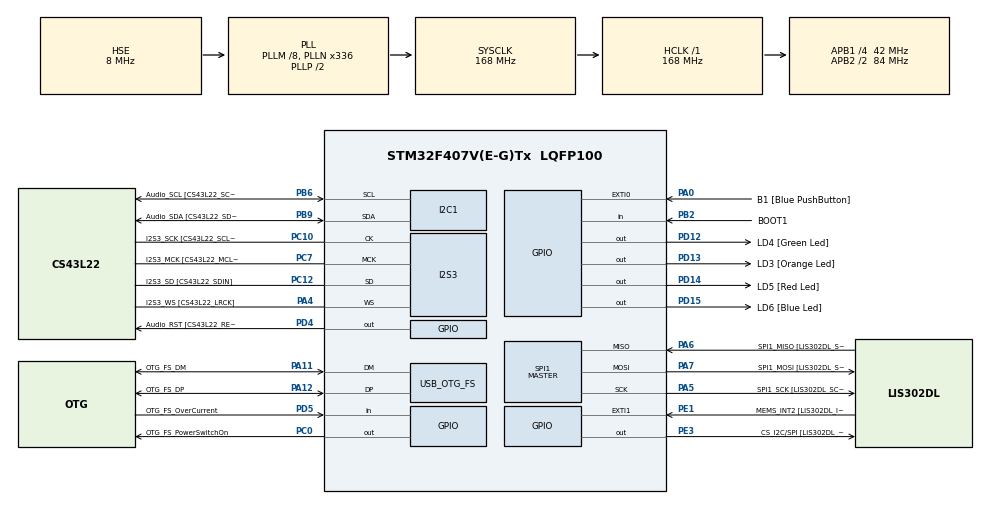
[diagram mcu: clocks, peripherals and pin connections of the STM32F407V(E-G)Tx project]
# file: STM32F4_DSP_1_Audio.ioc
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Dma.Request0=SPI3_TX
Dma.SPI3_TX.0.Direction=DMA_MEMORY_TO_PERIPH
Dma.SPI3_TX.0.FIFOMode=DMA_FIFOMODE_DISABLE
Dma.SPI3_TX.0.Instance=DMA1_Stream5
Dma.SPI3_TX.0.MemDataAlignment=DMA_MDATAALIGN_HALFWORD
Dma.SPI3_TX.0.MemInc=DMA_MINC_ENABLE
Dma.SPI3_TX.0.Mode=DMA_NORMAL
Dma.SPI3_TX.0.PeriphDataAlignment=DMA_PDATAALIGN_HALFWORD
Dma.SPI3_TX.0.PeriphInc=DMA_PINC_DISABLE
Dma.SPI3_TX.0.Priority=DMA_PRIORITY_HIGH
I2S3.AudioFreq-Half_Duplex_Master=I2S_AUDIOFREQ_96K
I2S3.ErrorAudioFreq=-2.34 %
I2S3.ErrorAudioFreq-Half_Duplex_Master=0.8 %
I2S3.FullDuplexMode=I2S_FULLDUPLEXMODE_DISABLE
I2S3.Instance=SPI$Index
I2S3.RealAudioFreq=93.75 KHz
I2S3.RealAudioFreq-Half_Duplex_Master=96.774 KHz
I2S3.VirtualMode=I2S_MODE_MASTER
Mcu.Family=STM32F4
Mcu.Name=STM32F407V(E-G)Tx
Mcu.Package=LQFP100
NVIC.DMA1_Stream5_IRQn=true\:0\:0\:false\:false\:true\:false\:true\:true
NVIC.OTG_FS_IRQn=true\:0\:0\:false\:false\:true\:true\:true\:true
NVIC.PriorityGroup=NVIC_PRIORITYGROUP_0
PA0-WKUP.GPIO_Label=B1 [Blue PushButton]
PA0-WKUP.GPIO_ModeDefaultEXTI=GPIO_MODE_EVT_RISING
PA0-WKUP.GPIO_PuPd=GPIO_NOPULL
PA0-WKUP.Signal=GPXTI0
PA10.GPIO_Label=OTG_FS_ID
PA10.GPIO_Mode=GPIO_MODE_AF_PP
PA10.GPIO_PuPd=GPIO_NOPULL
PA10.GPIO_Speed=GPIO_SPEED_FREQ_LOW
PA10.Signal=USB_OTG_FS_ID
PA11.GPIO_Label=OTG_FS_DM
PA11.GPIO_Mode=GPIO_MODE_AF_PP
PA11.GPIO_PuPd=GPIO_NOPULL
PA11.GPIO_Speed=GPIO_SPEED_FREQ_LOW
PA11.Mode=Host_Only
PA11.Signal=USB_OTG_FS_DM
PA12.GPIO_Label=OTG_FS_DP
PA12.GPIO_Mode=GPIO_MODE_AF_PP
PA12.GPIO_PuPd=GPIO_NOPULL
PA12.GPIO_Speed=GPIO_SPEED_FREQ_LOW
PA12.Mode=Host_Only
PA12.Signal=USB_OTG_FS_DP
PA13.GPIO_Label=SWDIO
PA13.Mode=Serial_Wire
PA13.Signal=SYS_JTMS-SWDIO
PA14.GPIO_Label=SWCLK
PA14.Mode=Serial_Wire
PA14.Signal=SYS_JTCK-SWCLK
PA4.GPIO_Label=I2S3_WS [CS43L22_LRCK]
PA4.GPIO_Mode=GPIO_MODE_AF_PP
PA4.GPIO_PuPd=GPIO_NOPULL
PA4.GPIO_Speed=GPIO_SPEED_FREQ_LOW
PA4.Mode=Half_Duplex_Master
PA4.Signal=I2S3_WS
PA5.GPIO_Label=SPI1_SCK [LIS302DL_SCL/SPC]
PA5.GPIO_Mode=GPIO_MODE_AF_PP
PA5.GPIO_PuPd=GPIO_NOPULL
PA5.GPIO_Speed=GPIO_SPEED_FREQ_LOW
PA5.Mode=Full_Duplex_Master
PA5.Signal=SPI1_SCK
PA6.GPIO_Label=SPI1_MISO [LIS302DL_SDO]
PA6.GPIO_Mode=GPIO_MODE_AF_PP
PA6.GPIO_PuPd=GPIO_NOPULL
PA6.GPIO_Speed=GPIO_SPEED_FREQ_LOW
PA6.Mode=Full_Duplex_Master
PA6.Signal=SPI1_MISO
PA7.GPIO_Label=SPI1_MOSI [LIS302DL_SDA/SDI/SDO]
PA7.GPIO_Mode=GPIO_MODE_AF_PP
PA7.GPIO_PuPd=GPIO_NOPULL
PA7.GPIO_Speed=GPIO_SPEED_FREQ_LOW
PA7.Mode=Full_Duplex_Master
PA7.Signal=SPI1_MOSI
PA9.GPIO_Label=VBUS_FS
PA9.GPIO_Mode=GPIO_MODE_INPUT
PA9.GPIO_PuPd=GPIO_NOPULL
PA9.Signal=USB_OTG_FS_VBUS
PB10.GPIO_Label=CLK_IN [MP45DT02_CLK]
PB10.GPIO_Mode=GPIO_MODE_AF_PP
PB10.GPIO_PuPd=GPIO_NOPULL
PB10.GPIO_Speed=GPIO_SPEED_FREQ_LOW
PB10.Signal=I2S2_CK
PB2.GPIO_Label=BOOT1
PB2.GPIO_Mode=GPIO_MODE_INPUT
PB2.GPIO_PuPd=GPIO_NOPULL
PB2.Signal=GPIO_Input
PB3.GPIO_Label=SWO
PB3.Signal=SYS_JTDO-SWO
PB6.GPIO_Label=Audio_SCL [CS43L22_SCL]
PB6.GPIO_Mode=GPIO_MODE_AF_OD
PB6.GPIO_Pu=GPIO_PULLUP
PB6.GPIO_PuPd=GPIO_NOPULL
PB6.GPIO_Speed=GPIO_SPEED_FREQ_LOW
PB6.Mode=I2C
PB6.Signal=I2C1_SCL
PB9.GPIO_Label=Audio_SDA [CS43L22_SDA]
PB9.GPIO_Mode=GPIO_MODE_AF_OD
PB9.GPIO_Pu=GPIO_PULLUP
PB9.GPIO_PuPd=GPIO_NOPULL
PB9.GPIO_Speed=GPIO_SPEED_FREQ_LOW
PB9.Mode=I2C
PB9.Signal=I2C1_SDA
PC0.GPIO_Label=OTG_FS_PowerSwitchOn
PC0.GPIO_PuPd=GPIO_NOPULL
PC0.GPIO_Speed=GPIO_SPEED_FREQ_LOW
PC0.PinState=GPIO_PIN_SET
PC0.Signal=GPIO_Output
PC10.GPIO_Label=I2S3_SCK [CS43L22_SCLK]
PC10.GPIO_Mode=GPIO_MODE_AF_PP
PC10.GPIO_PuPd=GPIO_NOPULL
PC10.GPIO_Speed=GPIO_SPEED_FREQ_LOW
PC10.Mode=Half_Duplex_Master
PC10.Signal=I2S3_CK
PC12.GPIO_Label=I2S3_SD [CS43L22_SDIN]
PC12.GPIO_Mode=GPIO_MODE_AF_PP
PC12.GPIO_PuPd=GPIO_NOPULL
PC12.GPIO_Speed=GPIO_SPEED_FREQ_LOW
PC12.Mode=Half_Duplex_Master
PC12.Signal=I2S3_SD
PC14-OSC32_IN.GPIO_Label=PC14-OSC32_IN
PC14-OSC32_IN.Mode=LSE-External-Oscillator
PC14-OSC32_IN.Signal=RCC_OSC32_IN
PC15-OSC32_OUT.GPIO_Label=PC15-OSC32_OUT
PC15-OSC32_OUT.Mode=LSE-External-Oscillator
PC15-OSC32_OUT.Signal=RCC_OSC32_OUT
PC3.GPIO_Label=PDM_OUT [MP45DT02_DOUT]
PC3.GPIO_Mode=GPIO_MODE_AF_PP
PC3.GPIO_PuPd=GPIO_NOPULL
PC3.GPIO_Speed=GPIO_SPEED_FREQ_LOW
PC3.Signal=I2S2_SD
PC7.GPIO_Label=I2S3_MCK [CS43L22_MCLK]
PC7.GPIO_Mode=GPIO_MODE_AF_PP
PC7.GPIO_PuPd=GPIO_NOPULL
PC7.GPIO_Speed=GPIO_SPEED_FREQ_LOW
PC7.Mode=Master_Clock_Activated
PC7.Signal=I2S3_MCK
PD12.GPIO_Label=LD4 [Green Led]
PD12.GPIO_PuPd=GPIO_NOPULL
PD12.GPIO_Speed=GPIO_SPEED_FREQ_LOW
PD12.Signal=GPIO_Output
PD13.GPIO_Label=LD3 [Orange Led]
PD13.GPIO_PuPd=GPIO_NOPULL
PD13.GPIO_Speed=GPIO_SPEED_FREQ_LOW
PD13.Signal=GPIO_Output
PD14.GPIO_Label=LD5 [Red Led]
PD14.GPIO_PuPd=GPIO_NOPULL
PD14.GPIO_Speed=GPIO_SPEED_FREQ_LOW
PD14.Signal=GPIO_Output
PD15.GPIO_Label=LD6 [Blue Led]
PD15.GPIO_PuPd=GPIO_NOPULL
PD15.GPIO_Speed=GPIO_SPEED_FREQ_LOW
PD15.Signal=GPIO_Output
PD4.GPIO_Label=Audio_RST [CS43L22_RESET]
PD4.GPIO_PuPd=GPIO_NOPULL
PD4.GPIO_Speed=GPIO_SPEED_FREQ_LOW
PD4.Signal=GPIO_Output
PD5.GPIO_Label=OTG_FS_OverCurrent
PD5.GPIO_Mode=GPIO_MODE_INPUT
PD5.GPIO_PuPd=GPIO_NOPULL
PD5.Signal=GPIO_Input
PE1.GPIO_Label=MEMS_INT2 [LIS302DL_INT2]
PE1.GPIO_ModeDefaultEXTI=GPIO_MODE_EVT_RISING
PE1.GPIO_PuPd=GPIO_NOPULL
PE1.Signal=GPXTI1
PE3.GPIO_Label=CS_I2C/SPI [LIS302DL_CS_I2C/SPI]
PE3.GPIO_PuPd=GPIO_NOPULL
PE3.GPIO_Speed=GPIO_SPEED_FREQ_LOW
PE3.Signal=GPIO_Output
PH0-OSC_IN.GPIO_Label=PH0-OSC_IN
PH0-OSC_IN.Mode=HSE-External-Oscillator
PH0-OSC_IN.Signal=RCC_OSC_IN
PH1-OSC_OUT.GPIO_Label=PH1-OSC_OUT
PH1-OSC_OUT.Mode=HSE-External-Oscillator
PH1-OSC_OUT.Signal=RCC_OSC_OUT
ProjectManager.HeapSize=0x200
ProjectManager.StackSize=0x400
ProjectManager.TargetToolchain=STM32CubeIDE
RCC.48MHZClocksFreq_Value=48000000
RCC.AHBFreq_Value=168000000
RCC.APB1CLKDivider=RCC_HCLK_DIV4
RCC.APB1Freq_Value=42000000
RCC.APB1TimFreq_Value=84000000
RCC.APB2CLKDivider=RCC_HCLK_DIV2
RCC.APB2Freq_Value=84000000
RCC.APB2TimFreq_Value=168000000
RCC.CortexFreq_Value=168000000
RCC.HCLKFreq_Value=168000000
RCC.HSE_VALUE=8000000
RCC.HSI_VALUE=16000000
RCC.PLLM=8
RCC.PLLN=336
RCC.PLLQ=7
RCC.SYSCLKFreq_VALUE=168000000
RCC.SYSCLKSource=RCC_SYSCLKSOURCE_PLLCLK
RCC.VCOOutputFreq_Value=336000000
SPI1.BaudRatePrescaler-Full_Duplex_Master=SPI_BAUDRATEPRESCALER_2
SPI1.CalculateBaudRate-Full_Duplex_Master=42.0 MBits/s
SPI1.Direction=SPI_DIRECTION_2LINES
SPI1.Mode=SPI_MODE_MASTER
SPI1.Mode-Full_Duplex_Master=SPI_MODE_MASTER
SPI1.VirtualType=VM_MASTER
USB_HOST.BSP.number=1
USB_HOST.USBH_HandleTypeDef-CDC_FS=hUsbHostFS
USB_HOST.VirtualModeFS=Cdc
USB_HOST0.BSP.STBoard=false
USB_HOST0.BSP.api=Unknown
USB_HOST0.BSP.instance=PC0
USB_HOST0.BSP.ip=GPIO
USB_HOST0.BSP.mode=Output
USB_HOST0.BSP.name=Drive_VBUS_FS
USB_HOST0.BSP.solution=PC0
USB_OTG_FS.VirtualMode=Host_Only
USB_OTG_FS.phy_itface=HCD_PHY_EMBEDDED
VP_USB_HOST_VS_USB_HOST_CDC_FS.Mode=CDC_FS
board=STM32F407G-DISC1

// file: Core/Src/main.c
/* USER CODE BEGIN Header */
/**
  ******************************************************************************
  * @file           : main.c
  * @brief          : Main program body
  ******************************************************************************
  * @attention
  *
  * Copyright (c) 2025 STMicroelectronics.
  * All rights reserved.
  *
  * This software is licensed under terms that can be found in the LICENSE file
  * in the root directory of this software component.
  * If no LICENSE file comes with this software, it is provided AS-IS.
  *
  ******************************************************************************
  */
/* USER CODE END Header */
#include "main.h"
#include "usb_host.h"

/* USER CODE BEGIN Includes */
#include "arm_math.h"
#include "stm32f4_discovery_audio.h"

/* USER CODE END Includes */

/* USER CODE BEGIN PTD */
//git tests 222

/* USER CODE END PTD */

/* USER CODE BEGIN PD */
#define SAMPLING_FREQ 8000	//BSP_audio_out sampling frequency
#define SAMPLES_QTY 32		//Signal buffer for one channel

/* USER CODE END PD */

I2C_HandleTypeDef hi2c1;

I2S_HandleTypeDef hi2s3;
DMA_HandleTypeDef hdma_spi3_tx;

SPI_HandleTypeDef hspi1;

/* USER CODE BEGIN PV */
static int16_t OutputBuffer[SAMPLES_QTY*2];		//Buffer to BSP_AUDIO_OUT, left+right channels
static int16_t Left_out_buffer[SAMPLES_QTY];
static int16_t Right_out_buffer[SAMPLES_QTY];

/* USER CODE END PV */

void SystemClock_Config(void);
static void MX_GPIO_Init(void);
static void MX_DMA_Init(void);
static void MX_I2C1_Init(void);
static void MX_I2S3_Init(void);
static void MX_SPI1_Init(void);
void MX_USB_HOST_Process(void);

int main(void)
{

  /* MCU Configuration--------------------------------------------------------*/

  /* Reset of all peripherals, Initializes the Flash interface and the Systick. */
  HAL_Init();

  /* Configure the system clock */
  SystemClock_Config();

  /* Initialize all configured peripherals */
  MX_GPIO_Init();
  MX_DMA_Init();
  MX_I2C1_Init();
  MX_I2S3_Init();
  MX_SPI1_Init();
  MX_USB_HOST_Init();
  /* USER CODE BEGIN 2 */

  /*** Initialize the Audio codec and all related peripherals (I2S, I2C, IOExpander, IOs...) ***/
        if(BSP_AUDIO_OUT_Init(OUTPUT_DEVICE_AUTO, 80, SAMPLING_FREQ) != AUDIO_OK)
        {
        	Error_Handler();
        }

  /*** Test Signal generation ***/
        for(int index = 0; index < SAMPLES_QTY; index++)
        {
        	Left_out_buffer[index] = (int16_t)(30000*sin(2*PI*index/SAMPLES_QTY));
          	Right_out_buffer[index] = (int16_t)(30000*sin(4*2*PI*index/SAMPLES_QTY));
        }

  /*** Fill Output Buffer ***/
        for(int i = 0; i < SAMPLES_QTY; i++)
        {
        	OutputBuffer[i<<1] = Left_out_buffer[i];
            OutputBuffer[(i<<1)+1] = Right_out_buffer[i];
        }

  /*** Start Audio play ***/
        BSP_AUDIO_OUT_Play((uint16_t*)&OutputBuffer[0], SAMPLES_QTY*2);

  /* USER CODE END 2 */

  /* Infinite loop */
  /* USER CODE BEGIN WHILE */
  while (1)
  {
	  HAL_GPIO_TogglePin(LD4_GPIO_Port, LD4_Pin);
	  HAL_Delay(250);

    /* USER CODE END WHILE */
    MX_USB_HOST_Process();

  }
}

void SystemClock_Config(void)
{
  RCC_OscInitTypeDef RCC_OscInitStruct = {0};
  RCC_ClkInitTypeDef RCC_ClkInitStruct = {0};

  /** Configure the main internal regulator output voltage
  */
  __HAL_RCC_PWR_CLK_ENABLE();
  __HAL_PWR_VOLTAGESCALING_CONFIG(PWR_REGULATOR_VOLTAGE_SCALE1);

  /** Initializes the RCC Oscillators according to the specified parameters
  * in the RCC_OscInitTypeDef structure.
  */
  RCC_OscInitStruct.OscillatorType = RCC_OSCILLATORTYPE_HSE;
  RCC_OscInitStruct.HSEState = RCC_HSE_ON;
  RCC_OscInitStruct.PLL.PLLState = RCC_PLL_ON;
  RCC_OscInitStruct.PLL.PLLSource = RCC_PLLSOURCE_HSE;
  RCC_OscInitStruct.PLL.PLLM = 8;
  RCC_OscInitStruct.PLL.PLLN = 336;
  RCC_OscInitStruct.PLL.PLLP = RCC_PLLP_DIV2;
  RCC_OscInitStruct.PLL.PLLQ = 7;
  if (HAL_RCC_OscConfig(&RCC_OscInitStruct) != HAL_OK)
  {
    Error_Handler();
  }

  /** Initializes the CPU, AHB and APB buses clocks
  */
  RCC_ClkInitStruct.ClockType = RCC_CLOCKTYPE_HCLK|RCC_CLOCKTYPE_SYSCLK
                              |RCC_CLOCKTYPE_PCLK1|RCC_CLOCKTYPE_PCLK2;
  RCC_ClkInitStruct.SYSCLKSource = RCC_SYSCLKSOURCE_PLLCLK;
  RCC_ClkInitStruct.AHBCLKDivider = RCC_SYSCLK_DIV1;
  RCC_ClkInitStruct.APB1CLKDivider = RCC_HCLK_DIV4;
  RCC_ClkInitStruct.APB2CLKDivider = RCC_HCLK_DIV2;

  if (HAL_RCC_ClockConfig(&RCC_ClkInitStruct, FLASH_LATENCY_5) != HAL_OK)
  {
    Error_Handler();
  }
}

static void MX_I2C1_Init(void)
{

  hi2c1.Instance = I2C1;
  hi2c1.Init.ClockSpeed = 100000;
  hi2c1.Init.DutyCycle = I2C_DUTYCYCLE_2;
  hi2c1.Init.OwnAddress1 = 0;
  hi2c1.Init.AddressingMode = I2C_ADDRESSINGMODE_7BIT;
  hi2c1.Init.DualAddressMode = I2C_DUALADDRESS_DISABLE;
  hi2c1.Init.OwnAddress2 = 0;
  hi2c1.Init.GeneralCallMode = I2C_GENERALCALL_DISABLE;
  hi2c1.Init.NoStretchMode = I2C_NOSTRETCH_DISABLE;
  if (HAL_I2C_Init(&hi2c1) != HAL_OK)
  {
    Error_Handler();
  }

}

static void MX_I2S3_Init(void)
{

  hi2s3.Instance = SPI3;
  hi2s3.Init.Mode = I2S_MODE_MASTER_TX;
  hi2s3.Init.Standard = I2S_STANDARD_PHILIPS;
  hi2s3.Init.DataFormat = I2S_DATAFORMAT_16B;
  hi2s3.Init.MCLKOutput = I2S_MCLKOUTPUT_ENABLE;
  hi2s3.Init.AudioFreq = I2S_AUDIOFREQ_96K;
  hi2s3.Init.CPOL = I2S_CPOL_LOW;
  hi2s3.Init.ClockSource = I2S_CLOCK_PLL;
  hi2s3.Init.FullDuplexMode = I2S_FULLDUPLEXMODE_DISABLE;
  if (HAL_I2S_Init(&hi2s3) != HAL_OK)
  {
    Error_Handler();
  }

}

static void MX_SPI1_Init(void)
{

  /* SPI1 parameter configuration*/
  hspi1.Instance = SPI1;
  hspi1.Init.Mode = SPI_MODE_MASTER;
  hspi1.Init.Direction = SPI_DIRECTION_2LINES;
  hspi1.Init.DataSize = SPI_DATASIZE_8BIT;
  hspi1.Init.CLKPolarity = SPI_POLARITY_LOW;
  hspi1.Init.CLKPhase = SPI_PHASE_1EDGE;
  hspi1.Init.NSS = SPI_NSS_SOFT;
  hspi1.Init.BaudRatePrescaler = SPI_BAUDRATEPRESCALER_2;
  hspi1.Init.FirstBit = SPI_FIRSTBIT_MSB;
  hspi1.Init.TIMode = SPI_TIMODE_DISABLE;
  hspi1.Init.CRCCalculation = SPI_CRCCALCULATION_DISABLE;
  hspi1.Init.CRCPolynomial = 10;
  if (HAL_SPI_Init(&hspi1) != HAL_OK)
  {
    Error_Handler();
  }

}

static void MX_DMA_Init(void)
{

  /* DMA controller clock enable */
  __HAL_RCC_DMA1_CLK_ENABLE();

  /* DMA interrupt init */
  /* DMA1_Stream5_IRQn interrupt configuration */
  HAL_NVIC_SetPriority(DMA1_Stream5_IRQn, 0, 0);
  HAL_NVIC_EnableIRQ(DMA1_Stream5_IRQn);

}

static void MX_GPIO_Init(void)
{
  GPIO_InitTypeDef GPIO_InitStruct = {0};

  /* GPIO Ports Clock Enable */
  __HAL_RCC_GPIOE_CLK_ENABLE();
  __HAL_RCC_GPIOC_CLK_ENABLE();
  __HAL_RCC_GPIOH_CLK_ENABLE();
  __HAL_RCC_GPIOA_CLK_ENABLE();
  __HAL_RCC_GPIOB_CLK_ENABLE();
  __HAL_RCC_GPIOD_CLK_ENABLE();

  /*Configure GPIO pin Output Level */
  HAL_GPIO_WritePin(CS_I2C_SPI_GPIO_Port, CS_I2C_SPI_Pin, GPIO_PIN_RESET);

  /*Configure GPIO pin Output Level */
  HAL_GPIO_WritePin(OTG_FS_PowerSwitchOn_GPIO_Port, OTG_FS_PowerSwitchOn_Pin, GPIO_PIN_SET);

  /*Configure GPIO pin Output Level */
  HAL_GPIO_WritePin(GPIOD, LD4_Pin|LD3_Pin|LD5_Pin|LD6_Pin
                          |Audio_RST_Pin, GPIO_PIN_RESET);

  /*Configure GPIO pin : CS_I2C_SPI_Pin */
  GPIO_InitStruct.Pin = CS_I2C_SPI_Pin;
  GPIO_InitStruct.Mode = GPIO_MODE_OUTPUT_PP;
  GPIO_InitStruct.Pull = GPIO_NOPULL;
  GPIO_InitStruct.Speed = GPIO_SPEED_FREQ_LOW;
  HAL_GPIO_Init(CS_I2C_SPI_GPIO_Port, &GPIO_InitStruct);

  /*Configure GPIO pin : OTG_FS_PowerSwitchOn_Pin */
  GPIO_InitStruct.Pin = OTG_FS_PowerSwitchOn_Pin;
  GPIO_InitStruct.Mode = GPIO_MODE_OUTPUT_PP;
  GPIO_InitStruct.Pull = GPIO_NOPULL;
  GPIO_InitStruct.Speed = GPIO_SPEED_FREQ_LOW;
  HAL_GPIO_Init(OTG_FS_PowerSwitchOn_GPIO_Port, &GPIO_InitStruct);

  /*Configure GPIO pin : PDM_OUT_Pin */
  GPIO_InitStruct.Pin = PDM_OUT_Pin;
  GPIO_InitStruct.Mode = GPIO_MODE_AF_PP;
  GPIO_InitStruct.Pull = GPIO_NOPULL;
  GPIO_InitStruct.Speed = GPIO_SPEED_FREQ_LOW;
  GPIO_InitStruct.Alternate = GPIO_AF5_SPI2;
  HAL_GPIO_Init(PDM_OUT_GPIO_Port, &GPIO_InitStruct);

  /*Configure GPIO pin : B1_Pin */
  GPIO_InitStruct.Pin = B1_Pin;
  GPIO_InitStruct.Mode = GPIO_MODE_EVT_RISING;
  GPIO_InitStruct.Pull = GPIO_NOPULL;
  HAL_GPIO_Init(B1_GPIO_Port, &GPIO_InitStruct);

  /*Configure GPIO pin : BOOT1_Pin */
  GPIO_InitStruct.Pin = BOOT1_Pin;
  GPIO_InitStruct.Mode = GPIO_MODE_INPUT;
  GPIO_InitStruct.Pull = GPIO_NOPULL;
  HAL_GPIO_Init(BOOT1_GPIO_Port, &GPIO_InitStruct);

  /*Configure GPIO pin : CLK_IN_Pin */
  GPIO_InitStruct.Pin = CLK_IN_Pin;
  GPIO_InitStruct.Mode = GPIO_MODE_AF_PP;
  GPIO_InitStruct.Pull = GPIO_NOPULL;
  GPIO_InitStruct.Speed = GPIO_SPEED_FREQ_LOW;
  GPIO_InitStruct.Alternate = GPIO_AF5_SPI2;
  HAL_GPIO_Init(CLK_IN_GPIO_Port, &GPIO_InitStruct);

  /*Configure GPIO pins : LD4_Pin LD3_Pin LD5_Pin LD6_Pin
                           Audio_RST_Pin */
  GPIO_InitStruct.Pin = LD4_Pin|LD3_Pin|LD5_Pin|LD6_Pin
                          |Audio_RST_Pin;
  GPIO_InitStruct.Mode = GPIO_MODE_OUTPUT_PP;
  GPIO_InitStruct.Pull = GPIO_NOPULL;
  GPIO_InitStruct.Speed = GPIO_SPEED_FREQ_LOW;
  HAL_GPIO_Init(GPIOD, &GPIO_InitStruct);

  /*Configure GPIO pin : OTG_FS_OverCurrent_Pin */
  GPIO_InitStruct.Pin = OTG_FS_OverCurrent_Pin;
  GPIO_InitStruct.Mode = GPIO_MODE_INPUT;
  GPIO_InitStruct.Pull = GPIO_NOPULL;
  HAL_GPIO_Init(OTG_FS_OverCurrent_GPIO_Port, &GPIO_InitStruct);

  /*Configure GPIO pin : MEMS_INT2_Pin */
  GPIO_InitStruct.Pin = MEMS_INT2_Pin;
  GPIO_InitStruct.Mode = GPIO_MODE_EVT_RISING;
  GPIO_InitStruct.Pull = GPIO_NOPULL;
  HAL_GPIO_Init(MEMS_INT2_GPIO_Port, &GPIO_InitStruct);

}

/* USER CODE BEGIN 4 */

/*** Back to Buffer beginning ***/
void BSP_AUDIO_OUT_TransferComplete_CallBack(void)
{
	BSP_AUDIO_OUT_ChangeBuffer((uint16_t*)&OutputBuffer[0], SAMPLES_QTY*2);
	HAL_GPIO_TogglePin(LD3_GPIO_Port, LD3_Pin);
}

/* USER CODE END 4 */

void Error_Handler(void)
{
  /* USER CODE BEGIN Error_Handler_Debug */
  /* User can add his own implementation to report the HAL error return state */
  __disable_irq();
  HAL_GPIO_WritePin(LD5_GPIO_Port, LD5_Pin, GPIO_PIN_SET);
  while (1)
  {
  }
  /* USER CODE END Error_Handler_Debug */
}
